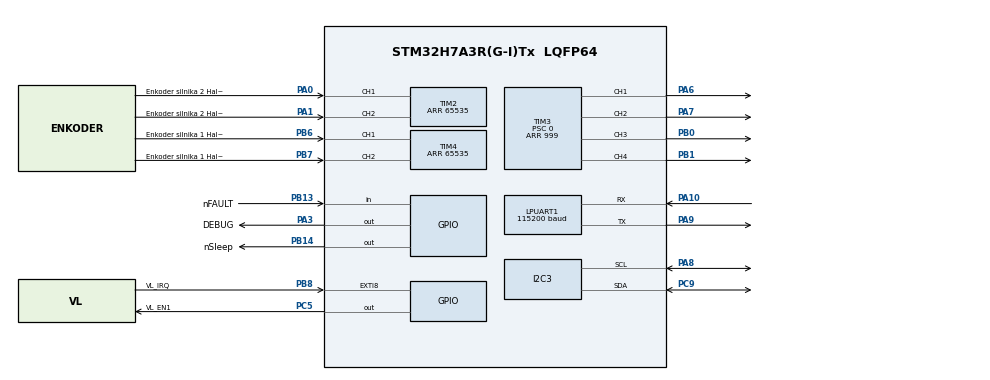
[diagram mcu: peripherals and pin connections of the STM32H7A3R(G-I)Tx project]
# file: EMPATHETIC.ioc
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ARM.CMSIS.5.7.0.CMSISJjCORE=true
ARM.CMSIS.5.7.0.CMSISJjDSP=Library
I2C3.Timing=0x0050527D
LPUART1.BaudRate=115200
Mcu.Family=STM32H7
Mcu.Name=STM32H7A3R(G-I)Tx
Mcu.Package=LQFP64
NVIC.EXTI9_5_IRQn=true\:0\:0\:false\:false\:true\:true\:true\:true
NVIC.LPUART1_IRQn=true\:0\:0\:false\:false\:true\:true\:true\:true
NVIC.PriorityGroup=NVIC_PRIORITYGROUP_4
NVIC.TIM15_IRQn=true\:0\:0\:false\:false\:true\:true\:true\:true
PA0.GPIO_Label=Enkoder silnika 2 Hall 1
PA0.Signal=S_TIM2_CH1_ETR
PA1.GPIO_Label=Enkoder silnika 2 Hall 2
PA1.Signal=S_TIM2_CH2
PA10.Mode=Asynchronous
PA10.Signal=LPUART1_RX
PA3.GPIO_Label=DEBUG
PA3.GPIO_Speed=GPIO_SPEED_FREQ_MEDIUM
PA3.Signal=GPIO_Output
PA6.Signal=S_TIM3_CH1
PA7.Signal=S_TIM3_CH2
PA8.GPIO_Pu=GPIO_PULLUP
PA8.Mode=I2C
PA8.Signal=I2C3_SCL
PA9.Mode=Asynchronous
PA9.Signal=LPUART1_TX
PB0.Signal=S_TIM3_CH3
PB1.Signal=S_TIM3_CH4
PB13.GPIO_Label=nFAULT
PB13.GPIO_PuPd=GPIO_PULLUP
PB13.Signal=GPIO_Input
PB14.GPIO_Label=nSleep
PB14.GPIO_PuPd=GPIO_NOPULL
PB14.PinState=GPIO_PIN_RESET
PB14.Signal=GPIO_Output
PB6.GPIO_Label=Enkoder silnika 1 Hall 1
PB6.Signal=S_TIM4_CH1
PB7.GPIO_Label=Enkoder silnika 1 Hall 2
PB7.Signal=S_TIM4_CH2
PB8.GPIO_Label=VL_IRQ
PB8.GPIO_ModeDefaultEXTI=GPIO_MODE_IT_FALLING
PB8.Signal=GPXTI8
PC5.GPIO_Label=VL_EN1
PC5.GPIO_ModeDefaultOutputPP=GPIO_MODE_OUTPUT_OD
PC5.GPIO_PuPd=GPIO_NOPULL
PC5.GPIO_Speed=GPIO_SPEED_FREQ_MEDIUM
PC5.Signal=GPIO_Output
PC9.GPIO_Pu=GPIO_PULLUP
PC9.Mode=I2C
PC9.Signal=I2C3_SDA
ProjectManager.HeapSize=0x200
ProjectManager.StackSize=0x400
ProjectManager.TargetToolchain=STM32CubeIDE
RCC.ADCFreq_Value=50000000
RCC.APB1Freq_Value=64000000
RCC.APB2Freq_Value=64000000
RCC.APB3Freq_Value=32000000
RCC.APB4Freq_Value=64000000
RCC.CDPPRE=RCC_APB3_DIV2
RCC.CortexFreq_Value=64000000
RCC.DIVM2=16
RCC.DIVN2=50
RCC.DIVP2=4
RCC.DIVR3=12
RCC.HCLKFreq_Value=64000000
RCC.I2C123CLockSelection=RCC_I2C123CLKSOURCE_PLL3
RCC.PLL2_VCI_Range-AdvancedSettings=RCC_PLL2VCIRANGE_3
RCC.PLL2_VCO_SEL-AdvancedSettings=RCC_PLL2VCOMEDIUM
RCC.PLL3FRACN=0
RCC.SYSCLKFreq_VALUE=64000000
RCC.USBFreq_Value=129000000
SH.S_TIM2_CH1_ETR.0=TIM2_CH1,Encoder_Interface
SH.S_TIM2_CH2.0=TIM2_CH2,Encoder_Interface
SH.S_TIM3_CH1.0=TIM3_CH1,PWM Generation1 CH1
SH.S_TIM3_CH2.0=TIM3_CH2,PWM Generation2 CH2
SH.S_TIM3_CH3.0=TIM3_CH3,PWM Generation3 CH3
SH.S_TIM3_CH4.0=TIM3_CH4,PWM Generation4 CH4
SH.S_TIM4_CH1.0=TIM4_CH1,Encoder_Interface
SH.S_TIM4_CH2.0=TIM4_CH2,Encoder_Interface
TIM15.Period=9999
TIM15.Prescaler=63
TIM15.TIM_MasterOutputTrigger=TIM_TRGO_UPDATE
TIM2.EncoderMode=TIM_ENCODERMODE_TI12
TIM2.IC1Filter=1
TIM2.IC2Filter=1
TIM2.Period=65535
TIM3.AutoReloadPreload=TIM_AUTORELOAD_PRELOAD_ENABLE
TIM3.Channel-PWM\ Generation1\ CH1=TIM_CHANNEL_1
TIM3.Channel-PWM\ Generation2\ CH2=TIM_CHANNEL_2
TIM3.Channel-PWM\ Generation3\ CH3=TIM_CHANNEL_3
TIM3.Channel-PWM\ Generation4\ CH4=TIM_CHANNEL_4
TIM3.Period=999
TIM3.Prescaler=0
TIM4.EncoderMode=TIM_ENCODERMODE_TI12
TIM4.IC1Filter=15
TIM4.IC2Filter=15
TIM4.Period=65535
VP_ARM.CMSIS_VS_CMSISJjCORE_5.4.0_5.7.0.Mode=CMSISJjCORE
VP_ARM.CMSIS_VS_CMSISJjDSP_1.8.0_5.7.0.Mode=CMSISJjDSP
VP_TIM15_VS_ClockSourceINT.Mode=Internal
VP_TIM3_VS_ClockSourceINT.Mode=Internal
VP_VREFBUF_OUT.Mode=InternalMode
VREFBUF.TrimmingMode=__NULL
VREFBUF.VoltageScaling=SYSCFG_VREFBUF_VOLTAGE_SCALE0
board=custom

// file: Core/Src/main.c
/* USER CODE BEGIN Header */
/**
 ******************************************************************************
 * @file           : main.c
 * @brief          : Main program body
 ******************************************************************************
 * @attention
 *
 * Copyright (c) 2024 STMicroelectronics.
 * All rights reserved.
 *
 * This software is licensed under terms that can be found in the LICENSE file
 * in the root directory of this software component.
 * If no LICENSE file comes with this software, it is provided AS-IS.
 *
 ******************************************************************************
 */
/* USER CODE END Header */
#include "main.h"
#include "i2c.h"
#include "usart.h"
#include "tim.h"
#include "gpio.h"

/* USER CODE BEGIN Includes */
#include <stdio.h>
#include <stdlib.h>

#include "drv8833.h"
#include "enc_inc.h"
#include "enc_A_LPF_biquad_df1.h"
#include "enc_B_LPF_biquad_df1.h"
#include "pid_controller.h"

#include "vl.h"
/* USER CODE END Includes */

/* USER CODE BEGIN PD */
#define TIME_BETWEEN_MEASUREMENTS 200		// Time between VL measurements
//#define HEARTBEAT_ENABLE
#define EMERGENCY_STOP_DISTANCE 50
/* USER CODE END PD */

/* USER CODE BEGIN PV */
DRV8833_TypeDef hdrv8833 = {
		.AIN_1 = PWM_INIT_HANDLE(&htim3, TIM_CHANNEL_1), .AIN_2 =
		PWM_INIT_HANDLE(&htim3, TIM_CHANNEL_2), .BIN_1 =
		PWM_INIT_HANDLE(&htim3, TIM_CHANNEL_3), .BIN_2 =
		PWM_INIT_HANDLE(&htim3, TIM_CHANNEL_4) };

float duty_A = 0;
float duty_B = 0;

ENC_INC_Handle_TypeDef henc_A = {
		.Encoder = &htim4, .Channel = TIM_CHANNEL_ALL, .Counter = 0,
		.CounterPrev = 0, .CounterDiff = 0, .Ts = 0.01 /* 10 ms */, .ppr = 12 };

float w_A = 0;  // [rad/s]
float wf_A = 0;  // [rad/s]

ENC_INC_Handle_TypeDef henc_B = {
		.Encoder = &htim2, .Channel = TIM_CHANNEL_ALL, .Counter = 0,
		.CounterPrev = 0, .CounterDiff = 0, .Ts = 0.01 /* 10 ms */, .ppr = 12 };

float w_B = 0;  // [rad/s]
float wf_B = 0;  // [rad/s]

PID_HandleTypeDef hpid_A = {
		.Kp = 0.0, .Ki = 0.5, .Kd = 0, .N = 1, .Ts = 0.01, .LimitLower = -100,
		.LimitUpper = 100 };

float w_A_ref = 0;

PID_HandleTypeDef hpid_B = {
		.Kp = 0.0, .Ki = 0.5, .Kd = 0, .N = 1, .Ts = 0.01, .LimitLower = -100,
		.LimitUpper = 100 };

float w_B_ref = 0;

unsigned char RxMsg[32];
unsigned int RxMsgLen = 10;

int print_irq = 0;
int print_rx = 0;
/* USER CODE END PV */

void SystemClock_Config( void );

/* USER CODE BEGIN 0 */
/**
 * @brief  Period elapsed callback in non-blocking mode to handle PID loop for motors
 * @param  htim TIM handle
 * @retval None
 */
void HAL_TIM_PeriodElapsedCallback( TIM_HandleTypeDef * htim ) {
	if( htim == &htim15 ) {
		// Negative encoder value, similar to motors, are caused by random magnet orientation
		w_A = -ENC_INC_Update( &henc_A );
		arm_biquad_cascade_df1_f32(
				&enc_A_LPF, &w_A, &wf_A, ENC_A_LPF_BLOCK_SIZE );
		if( w_A_ref == 0 ) {
			duty_A = 0;
		} else {
			duty_A = PID_GetOutput( &hpid_A, w_A_ref, wf_A );
		}
		drv8833_speed_change( &hdrv8833, A, duty_A );

		w_B = ENC_INC_Update( &henc_B );
		arm_biquad_cascade_df1_f32(
				&enc_B_LPF, &w_B, &wf_B, ENC_B_LPF_BLOCK_SIZE );
		if( w_B_ref == 0 ) {
			duty_B = 0;
		} else {
			duty_B = PID_GetOutput( &hpid_B, w_B_ref, wf_B );
		}
		drv8833_speed_change( &hdrv8833, B, duty_B );
	}
}

/**
 * @brief  Rx Transfer completed callback for receiving motors' speed
 * @param  huart UART handle.
 * @retval None
 */
void HAL_UART_RxCpltCallback( UART_HandleTypeDef * huart ) {
	if( huart != &hlpuart1 )
		return;

	int value_left, value_right;

	// Might be too slow to keep in IRQ
	(void)sscanf( (const char*)RxMsg, "L%dR%d", &value_left, &value_right );

	// Negative value just reverse robot direction due to random motors' polarity when soldering
	w_A_ref = -value_left;
	w_B_ref = -value_right;

	(void)HAL_UART_Receive_IT( &hlpuart1, RxMsg, RxMsgLen );
}

/* USER CODE END 0 */

int main( void ) {

	/* MCU Configuration--------------------------------------------------------*/

	/* Reset of all peripherals, Initializes the Flash interface and the Systick. */
	HAL_Init();

	/* Configure the system clock */
	SystemClock_Config();

	/* Initialize all configured peripherals */
	MX_GPIO_Init();
	MX_LPUART1_UART_Init();
	MX_TIM3_Init();
	MX_TIM4_Init();
	MX_TIM2_Init();
	MX_TIM15_Init();
	MX_I2C3_Init();
	/* USER CODE BEGIN 2 */
	drv8833_init( &hdrv8833 );
	drv8833_start( &hdrv8833 );

	PID_Init( &hpid_A );
	arm_biquad_cascade_df1_init_f32(
			&enc_A_LPF, ENC_A_LPF_NUM_STAGES, enc_A_LPF_COEFFS,
			enc_A_LPF_STATE );
	ENC_INC_Init( &henc_A );

	arm_biquad_cascade_df1_init_f32(
			&enc_B_LPF, ENC_B_LPF_NUM_STAGES, enc_B_LPF_COEFFS,
			enc_B_LPF_STATE );
	ENC_INC_Init( &henc_B );

	HAL_TIM_Base_Start_IT( &htim15 );
	HAL_UART_Receive_IT( &hlpuart1, RxMsg, RxMsgLen );

	HAL_UART_Transmit( &hlpuart1, (const uint8_t*)"Started.\r\n", 10,
	HAL_MAX_DELAY );

	vl_init( &hi2c3 );
	/* USER CODE END 2 */

	/* Infinite loop */
	/* USER CODE BEGIN WHILE */
#ifdef HEARTBEAT_ENABLE
	uint32_t heart = HAL_GetTick();
#endif
	uint32_t distance_timer = HAL_GetTick();
	while( 1 ) {
#ifdef HEARTBEAT_ENABLE
		if( heart - HAL_GetTick() > 1000 )
			HAL_UART_Transmit(
					&hlpuart1, (const uint8_t*)". ", 2, HAL_MAX_DELAY );  // Send heartbeat dot
#endif

		// Start distance measurement
		if( HAL_GetTick() - distance_timer > TIME_BETWEEN_MEASUREMENTS ) {
			uint16_t distance;

			// This measurement is blocking for now. It takes approximately 33ms + 2ms = 35ms, so it is fine until it is only task in main loop
			if( vl_get_distance( &distance ) ) {
				uint8_t msg_buf[64];
				uint8_t len = sprintf(
						(char*)msg_buf, "Measured_distance: %i\n\r", distance );
				HAL_UART_Transmit( &hlpuart1, msg_buf, len, HAL_MAX_DELAY );

				// Emergency stop when distance is low
				if( distance < EMERGENCY_STOP_DISTANCE ) {
					w_A_ref = 0;
					w_B_ref = 0;
				}
			}

			distance_timer = HAL_GetTick();
		}

		/* USER CODE END WHILE */

	}
}

void SystemClock_Config( void ) {
	RCC_OscInitTypeDef RCC_OscInitStruct = { 0 };
	RCC_ClkInitTypeDef RCC_ClkInitStruct = { 0 };

	/*AXI clock gating */
	RCC->CKGAENR = 0xFFFFFFFF;

	/** Supply configuration update enable
	 */
	HAL_PWREx_ConfigSupply( PWR_LDO_SUPPLY );

	/** Configure the main internal regulator output voltage
	 */
	__HAL_PWR_VOLTAGESCALING_CONFIG( PWR_REGULATOR_VOLTAGE_SCALE3 );

	while( !__HAL_PWR_GET_FLAG( PWR_FLAG_VOSRDY ) ) {
	}

	/** Macro to configure the PLL clock source
	 */
	__HAL_RCC_PLL_PLLSOURCE_CONFIG( RCC_PLLSOURCE_HSI );

	/** Initializes the RCC Oscillators according to the specified parameters
	 * in the RCC_OscInitTypeDef structure.
	 */
	RCC_OscInitStruct.OscillatorType = RCC_OSCILLATORTYPE_HSI;
	RCC_OscInitStruct.HSIState = RCC_HSI_DIV1;
	RCC_OscInitStruct.HSICalibrationValue = 64;
	RCC_OscInitStruct.PLL.PLLState = RCC_PLL_NONE;
	if( HAL_RCC_OscConfig( &RCC_OscInitStruct ) != HAL_OK ) {
		Error_Handler();
	}

	/** Initializes the CPU, AHB and APB buses clocks
	 */
	RCC_ClkInitStruct.ClockType = RCC_CLOCKTYPE_HCLK | RCC_CLOCKTYPE_SYSCLK
			| RCC_CLOCKTYPE_PCLK1 | RCC_CLOCKTYPE_PCLK2 | RCC_CLOCKTYPE_D3PCLK1
			| RCC_CLOCKTYPE_D1PCLK1;
	RCC_ClkInitStruct.SYSCLKSource = RCC_SYSCLKSOURCE_HSI;
	RCC_ClkInitStruct.SYSCLKDivider = RCC_SYSCLK_DIV1;
	RCC_ClkInitStruct.AHBCLKDivider = RCC_HCLK_DIV1;
	RCC_ClkInitStruct.APB3CLKDivider = RCC_APB3_DIV2;
	RCC_ClkInitStruct.APB1CLKDivider = RCC_APB1_DIV1;
	RCC_ClkInitStruct.APB2CLKDivider = RCC_APB2_DIV1;
	RCC_ClkInitStruct.APB4CLKDivider = RCC_APB4_DIV1;

	if( HAL_RCC_ClockConfig( &RCC_ClkInitStruct, FLASH_LATENCY_2 ) != HAL_OK ) {
		Error_Handler();
	}
}

void Error_Handler( void ) {
	__disable_irq();
	while( 1 ) {
	}
}
